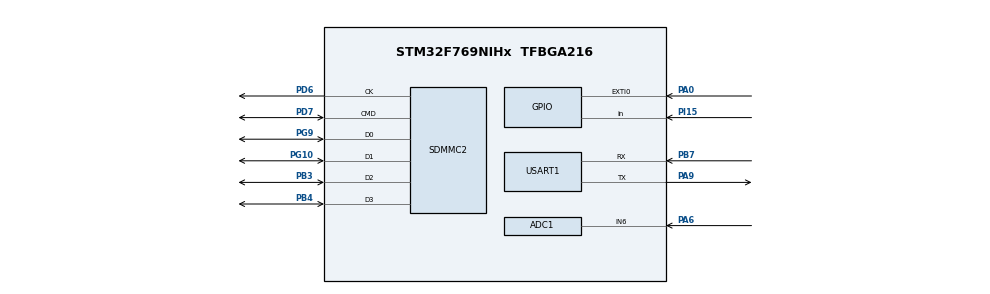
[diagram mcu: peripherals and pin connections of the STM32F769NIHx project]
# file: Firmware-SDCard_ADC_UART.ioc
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Mcu.Family=STM32F7
PD7.Mode=SD_4_bits_Wide_bus
Dma.SDMMC2_TX.2.Direction=DMA_MEMORY_TO_PERIPH
Dma.SDMMC2_RX.1.MemDataAlignment=DMA_MDATAALIGN_WORD
FATFS0.BSP.api=Unknown
ADC1.ContinuousConvMode=ENABLE
VP_FATFS_VS_SDIO.Mode=SDIO
Dma.SDMMC2_TX.2.FIFOMode=DMA_FIFOMODE_ENABLE
Dma.SDMMC2_TX.2.Priority=DMA_PRIORITY_LOW
PA0/WKUP.Signal=GPXTI0
Dma.SDMMC2_TX.2.PeriphDataAlignment=DMA_PDATAALIGN_WORD
ProjectManager.StackSize=0x800
Dma.SDMMC2_TX.2.PeriphBurst=DMA_PBURST_INC4
PH0/OSC_IN.Mode=HSE-External-Oscillator
RCC.APB2TimFreq_Value=16000000
Dma.ADC1.0.Direction=DMA_PERIPH_TO_MEMORY
PH1/OSC_OUT.Signal=RCC_OSC_OUT
NVIC.DMA2_Stream0_IRQn=true\:1\:0\:true\:false\:true\:false\:true
Dma.ADC1.0.MemDataAlignment=DMA_MDATAALIGN_HALFWORD
FATFS0.BSP.ip=GPIO
ADC1.Channel-0\#ChannelRegularConversion=ADC_CHANNEL_6
RCC.HSE_VALUE=25000000
PB3.Mode=SD_4_bits_Wide_bus
FATFS0.BSP.i2caddr=0
Dma.SDMMC2_RX.1.PeriphBurst=DMA_PBURST_INC4
Dma.SDMMC2_TX.2.MemBurst=DMA_MBURST_INC4
PB4.Mode=SD_4_bits_Wide_bus
PA14.Mode=Serial_Wire
Dma.ADC1.0.PeriphInc=DMA_PINC_DISABLE
Dma.SDMMC2_TX.2.PeriphInc=DMA_PINC_DISABLE
PB7.Signal=USART1_RX
Dma.SDMMC2_TX.2.MemInc=DMA_MINC_ENABLE
PH1/OSC_OUT.Mode=HSE-External-Oscillator
ADC1.SamplingTime-0\#ChannelRegularConversion=ADC_SAMPLETIME_480CYCLES
Mcu.Package=TFBGA216
PA6.Signal=ADCx_IN6
Dma.SDMMC2_TX.2.Instance=DMA2_Stream0
FATFS0.BSP.solution=PI15
RCC.APB2CLKDivider=RCC_HCLK_DIV2
Dma.Request2=SDMMC2_TX
Dma.Request1=SDMMC2_RX
Dma.ADC1.0.FIFOMode=DMA_FIFOMODE_DISABLE
PD6.Signal=SDMMC2_CK
Dma.Request0=ADC1
Dma.SDMMC2_RX.1.Mode=DMA_PFCTRL
PB4.Signal=SDMMC2_D3
FATFS0.BSP.STBoard=false
Dma.ADC1.0.Instance=DMA2_Stream4
ADC1.Rank-0\#ChannelRegularConversion=1
SH.ADCx_IN6.0=ADC1_IN6,IN6
PG9.Signal=SDMMC2_D0
Dma.SDMMC2_RX.1.MemInc=DMA_MINC_ENABLE
FATFS0.BSP.mode=Input
PG9.Mode=SD_4_bits_Wide_bus
PG10.Mode=SD_4_bits_Wide_bus
PD7.Signal=SDMMC2_CMD
Dma.SDMMC2_RX.1.FIFOMode=DMA_FIFOMODE_ENABLE
PD6.Mode=SD_4_bits_Wide_bus
Dma.SDMMC2_RX.1.Priority=DMA_PRIORITY_LOW
PG10.Signal=SDMMC2_D1
FATFS0.BSP.instance=PI15
USART1.VirtualMode-Asynchronous=VM_ASYNC
PA13.Signal=SYS_JTMS-SWDIO
Dma.ADC1.0.PeriphDataAlignment=DMA_PDATAALIGN_HALFWORD
PA9.Mode=Asynchronous
Dma.SDMMC2_RX.1.PeriphDataAlignment=DMA_PDATAALIGN_WORD
ProjectManager.TargetToolchain=STM32CubeIDE
Dma.ADC1.0.Mode=DMA_CIRCULAR
Dma.SDMMC2_TX.2.FIFOThreshold=DMA_FIFO_THRESHOLD_FULL
Dma.ADC1.0.Priority=DMA_PRIORITY_LOW
PA9.Signal=USART1_TX
RCC.USBFreq_Value=96000000
Dma.SDMMC2_RX.1.Direction=DMA_PERIPH_TO_MEMORY
RCC.LSE_VALUE=32768
FATFS.BSP.number=1
Dma.SDMMC2_RX.1.PeriphInc=DMA_PINC_DISABLE
board=custom
RCC.VCOOutputFreq_Value=192000000
FATFS.USE_DMA_CODE_SD=1
PH0/OSC_IN.Signal=RCC_OSC_IN
RCC.APB2Freq_Value=8000000
NVIC.DMA2_Stream5_IRQn=true\:1\:0\:true\:false\:true\:false\:true
ADC1.DMAContinuousRequests=ENABLE
PA0/WKUP.GPIO_PuPd=GPIO_PULLDOWN
PA13.Mode=Serial_Wire
Mcu.Name=STM32F769NIHx
NVIC.DMA2_Stream4_IRQn=true\:4\:0\:true\:false\:true\:false\:true
Dma.SDMMC2_RX.1.Instance=DMA2_Stream5
PB3.Signal=SDMMC2_D2
NVIC.EXTI0_IRQn=true\:2\:0\:true\:false\:true\:true\:true
NVIC.SDMMC2_IRQn=true\:1\:0\:true\:false\:true\:true\:true
ADC1.master=1
PB7.Mode=Asynchronous
PA14.Signal=SYS_JTCK-SWCLK
Dma.ADC1.0.MemInc=DMA_MINC_ENABLE
ProjectManager.HeapSize=0x400
RCC.HSI_VALUE=16000000
Dma.SDMMC2_RX.1.MemBurst=DMA_MBURST_INC4
NVIC.PriorityGroup=NVIC_PRIORITYGROUP_4
ADC1.NbrOfConversionFlag=1
Dma.SDMMC2_RX.1.FIFOThreshold=DMA_FIFO_THRESHOLD_FULL
PI15.Signal=GPIO_Input
Dma.SDMMC2_TX.2.Mode=DMA_PFCTRL
ADC1.ClockPrescaler=ADC_CLOCK_SYNC_PCLK_DIV8
FATFS0.BSP.name=Detect_SDIO
Dma.SDMMC2_TX.2.MemDataAlignment=DMA_MDATAALIGN_WORD

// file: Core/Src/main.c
/* USER CODE BEGIN Header */
/**
  ******************************************************************************
  * @file           : main.c
  * @brief          : Main program body
  ******************************************************************************
  * @attention
  *
  * <h2><center>&copy; Copyright (c) 2021 STMicroelectronics.
  * All rights reserved.</center></h2>
  *
  * This software component is licensed by ST under BSD 3-Clause license,
  * the "License"; You may not use this file except in compliance with the
  * License. You may obtain a copy of the License at:
  *                        opensource.org/licenses/BSD-3-Clause
  *
  ******************************************************************************
  */
/* USER CODE END Header */
#include "main.h"
#include "fatfs.h"

/* USER CODE BEGIN Includes */
#include <string.h>
#include <stdio.h>
#include <stdbool.h>
/* USER CODE END Includes */

/* USER CODE BEGIN PD */
#define ADC_BUF_LEN 512
/* USER CODE END PD */

ADC_HandleTypeDef hadc1;
DMA_HandleTypeDef hdma_adc1;

SD_HandleTypeDef hsd2;
DMA_HandleTypeDef hdma_sdmmc2_rx;
DMA_HandleTypeDef hdma_sdmmc2_tx;

UART_HandleTypeDef huart1;

/* USER CODE BEGIN PV */
uint16_t adc_buf[ADC_BUF_LEN];
char msg[10];
char arquivo[22];
bool controll_gravacao = false;
short int num_arquivo = 1;
/* USER CODE END PV */

void SystemClock_Config(void);
static void MX_GPIO_Init(void);
static void MX_DMA_Init(void);
static void MX_USART1_UART_Init(void);
static void MX_ADC1_Init(void);
static void MX_SDMMC2_SD_Init(void);

/* USER CODE BEGIN 0 */
FIL SDFile;
FRESULT res; /* código de resultado comum da função FatFs*/
uint32_t byteswritten, bytesread; /* contagem de leitura/gravação de arquivo*/
char wtext[10]; /* Buffer de gravação de arquivo*/
char rtext[1024];

//envia uma string para o monitor serial
void send_uart(char *string){

	uint8_t len = strlen (string);
	HAL_UART_Transmit(&huart1, (uint8_t *)string, len, 2000); //transmite em modo de bloqueio

}

//conta quantos caracteres tem a string
int bufsize (char *buf){

	int i = 0;
	while (*buf++ != '\0') i++;
	return i;
}

//limpa o buffer
void bufclear(char *buf){

	uint8_t len = strlen (buf);
	for(int i=0; i<len; i++)
	{
		buf = '\0';
	}
}

//cria um titulo para o arquivo do cartao SD
 void criar_arquivo(char *titulo ){

	sprintf(titulo, "DADOS%i.TXT", num_arquivo);
	num_arquivo++;
}

/* USER CODE END 0 */

int main(void)
{

  /* MCU Configuration--------------------------------------------------------*/

  /* Reset of all peripherals, Initializes the Flash interface and the Systick. */
  HAL_Init();

  /* Configure the system clock */
  SystemClock_Config();

  /* Initialize all configured peripherals */
  MX_GPIO_Init();
  MX_DMA_Init();
  MX_USART1_UART_Init();
  MX_ADC1_Init();
  MX_SDMMC2_SD_Init();
  MX_FATFS_Init();
  /* USER CODE BEGIN 2 */
  //inicia as requisições de dados do conversor AD
  HAL_ADC_Start_DMA(&hadc1,(uint32_t*)adc_buf, ADC_BUF_LEN);

  /* USER CODE END 2 */

  /* Infinite loop */
  while (1)
  {

  }
}

void SystemClock_Config(void)
{
  RCC_OscInitTypeDef RCC_OscInitStruct = {0};
  RCC_ClkInitTypeDef RCC_ClkInitStruct = {0};
  RCC_PeriphCLKInitTypeDef PeriphClkInitStruct = {0};

  /** Configure the main internal regulator output voltage
  */
  __HAL_RCC_PWR_CLK_ENABLE();
  __HAL_PWR_VOLTAGESCALING_CONFIG(PWR_REGULATOR_VOLTAGE_SCALE3);
  /** Initializes the RCC Oscillators according to the specified parameters
  * in the RCC_OscInitTypeDef structure.
  */
  RCC_OscInitStruct.OscillatorType = RCC_OSCILLATORTYPE_HSI;
  RCC_OscInitStruct.HSIState = RCC_HSI_ON;
  RCC_OscInitStruct.HSICalibrationValue = RCC_HSICALIBRATION_DEFAULT;
  RCC_OscInitStruct.PLL.PLLState = RCC_PLL_NONE;
  if (HAL_RCC_OscConfig(&RCC_OscInitStruct) != HAL_OK)
  {
    Error_Handler();
  }
  /** Initializes the CPU, AHB and APB buses clocks
  */
  RCC_ClkInitStruct.ClockType = RCC_CLOCKTYPE_HCLK|RCC_CLOCKTYPE_SYSCLK
                              |RCC_CLOCKTYPE_PCLK1|RCC_CLOCKTYPE_PCLK2;
  RCC_ClkInitStruct.SYSCLKSource = RCC_SYSCLKSOURCE_HSI;
  RCC_ClkInitStruct.AHBCLKDivider = RCC_SYSCLK_DIV1;
  RCC_ClkInitStruct.APB1CLKDivider = RCC_HCLK_DIV1;
  RCC_ClkInitStruct.APB2CLKDivider = RCC_HCLK_DIV2;

  if (HAL_RCC_ClockConfig(&RCC_ClkInitStruct, FLASH_LATENCY_0) != HAL_OK)
  {
    Error_Handler();
  }
  PeriphClkInitStruct.PeriphClockSelection = RCC_PERIPHCLK_USART1|RCC_PERIPHCLK_SDMMC2;
  PeriphClkInitStruct.Usart1ClockSelection = RCC_USART1CLKSOURCE_PCLK2;
  PeriphClkInitStruct.Sdmmc2ClockSelection = RCC_SDMMC2CLKSOURCE_SYSCLK;
  if (HAL_RCCEx_PeriphCLKConfig(&PeriphClkInitStruct) != HAL_OK)
  {
    Error_Handler();
  }
}

static void MX_ADC1_Init(void)
{

  ADC_ChannelConfTypeDef sConfig = {0};

  /** Configure the global features of the ADC (Clock, Resolution, Data Alignment and number of conversion)
  */
  hadc1.Instance = ADC1;
  hadc1.Init.ClockPrescaler = ADC_CLOCK_SYNC_PCLK_DIV8;
  hadc1.Init.Resolution = ADC_RESOLUTION_12B;
  hadc1.Init.ScanConvMode = ADC_SCAN_DISABLE;
  hadc1.Init.ContinuousConvMode = ENABLE;
  hadc1.Init.DiscontinuousConvMode = DISABLE;
  hadc1.Init.ExternalTrigConvEdge = ADC_EXTERNALTRIGCONVEDGE_NONE;
  hadc1.Init.ExternalTrigConv = ADC_SOFTWARE_START;
  hadc1.Init.DataAlign = ADC_DATAALIGN_RIGHT;
  hadc1.Init.NbrOfConversion = 1;
  hadc1.Init.DMAContinuousRequests = ENABLE;
  hadc1.Init.EOCSelection = ADC_EOC_SINGLE_CONV;
  if (HAL_ADC_Init(&hadc1) != HAL_OK)
  {
    Error_Handler();
  }
  /** Configure for the selected ADC regular channel its corresponding rank in the sequencer and its sample time.
  */
  sConfig.Channel = ADC_CHANNEL_6;
  sConfig.Rank = ADC_REGULAR_RANK_1;
  sConfig.SamplingTime = ADC_SAMPLETIME_480CYCLES;
  if (HAL_ADC_ConfigChannel(&hadc1, &sConfig) != HAL_OK)
  {
    Error_Handler();
  }

}

static void MX_SDMMC2_SD_Init(void)
{

  hsd2.Instance = SDMMC2;
  hsd2.Init.ClockEdge = SDMMC_CLOCK_EDGE_RISING;
  hsd2.Init.ClockBypass = SDMMC_CLOCK_BYPASS_DISABLE;
  hsd2.Init.ClockPowerSave = SDMMC_CLOCK_POWER_SAVE_DISABLE;
  hsd2.Init.BusWide = SDMMC_BUS_WIDE_1B;
  hsd2.Init.HardwareFlowControl = SDMMC_HARDWARE_FLOW_CONTROL_DISABLE;
  hsd2.Init.ClockDiv = 0;

}

static void MX_USART1_UART_Init(void)
{

  huart1.Instance = USART1;
  huart1.Init.BaudRate = 115200;
  huart1.Init.WordLength = UART_WORDLENGTH_8B;
  huart1.Init.StopBits = UART_STOPBITS_1;
  huart1.Init.Parity = UART_PARITY_NONE;
  huart1.Init.Mode = UART_MODE_TX_RX;
  huart1.Init.HwFlowCtl = UART_HWCONTROL_NONE;
  huart1.Init.OverSampling = UART_OVERSAMPLING_16;
  huart1.Init.OneBitSampling = UART_ONE_BIT_SAMPLE_DISABLE;
  huart1.AdvancedInit.AdvFeatureInit = UART_ADVFEATURE_NO_INIT;
  if (HAL_UART_Init(&huart1) != HAL_OK)
  {
    Error_Handler();
  }

}

static void MX_DMA_Init(void)
{

  /* DMA controller clock enable */
  __HAL_RCC_DMA2_CLK_ENABLE();

  /* DMA interrupt init */
  /* DMA2_Stream0_IRQn interrupt configuration */
  HAL_NVIC_SetPriority(DMA2_Stream0_IRQn, 1, 0);
  HAL_NVIC_EnableIRQ(DMA2_Stream0_IRQn);
  /* DMA2_Stream4_IRQn interrupt configuration */
  HAL_NVIC_SetPriority(DMA2_Stream4_IRQn, 4, 0);
  HAL_NVIC_EnableIRQ(DMA2_Stream4_IRQn);
  /* DMA2_Stream5_IRQn interrupt configuration */
  HAL_NVIC_SetPriority(DMA2_Stream5_IRQn, 1, 0);
  HAL_NVIC_EnableIRQ(DMA2_Stream5_IRQn);

}

static void MX_GPIO_Init(void)
{
  GPIO_InitTypeDef GPIO_InitStruct = {0};

  /* GPIO Ports Clock Enable */
  __HAL_RCC_GPIOB_CLK_ENABLE();
  __HAL_RCC_GPIOD_CLK_ENABLE();
  __HAL_RCC_GPIOA_CLK_ENABLE();
  __HAL_RCC_GPIOG_CLK_ENABLE();
  __HAL_RCC_GPIOH_CLK_ENABLE();
  __HAL_RCC_GPIOI_CLK_ENABLE();

  /*Configure GPIO pin : PI15 */
  GPIO_InitStruct.Pin = GPIO_PIN_15;
  GPIO_InitStruct.Mode = GPIO_MODE_INPUT;
  GPIO_InitStruct.Pull = GPIO_NOPULL;
  HAL_GPIO_Init(GPIOI, &GPIO_InitStruct);

  /*Configure GPIO pin : PA0 */
  GPIO_InitStruct.Pin = GPIO_PIN_0;
  GPIO_InitStruct.Mode = GPIO_MODE_IT_RISING;
  GPIO_InitStruct.Pull = GPIO_PULLDOWN;
  HAL_GPIO_Init(GPIOA, &GPIO_InitStruct);

  /* EXTI interrupt init*/
  HAL_NVIC_SetPriority(EXTI0_IRQn, 2, 0);
  HAL_NVIC_EnableIRQ(EXTI0_IRQn);

}

/* USER CODE BEGIN 4 */
// Função de tratamento das interrupções externas
void HAL_GPIO_EXTI_Callback(uint16_t GPIO_Pin){

	//muda o nivel logico da variavel de controle
	controll_gravacao = !controll_gravacao;

    if((GPIO_Pin == GPIO_PIN_0) & (controll_gravacao)) // se a interrupção externa veio do PIN 0 e o
    	                                               //controll_gravacao é verdadeiro:
    {
    	//manda a seguinte mensagem para o monitor serial
    	send_uart("Preparando o SD para gravação...\r\n");

    	//executa a função que registra um objeto do sitema de arquivos (limpa a área de trabalho)
    	res = f_mount(&SDFatFS, (TCHAR const*)SDPath, 0);

    	//envia para o monitor serial as seguintes mensagens
    	send_uart("Montagem do SD com sucesso...\r\n");
    	send_uart("Criando o arquivo...\r\n");

    	//cria o nome do arquivo no qual será salvo os dados
    	criar_arquivo(arquivo);

    	//envia para o monitor serial o nome do arquivo
    	send_uart(arquivo);

    	/*Abre/cria um arquivo, FA_CREATE_ALWAYS (cria o arquivo, caso já exista é substituido)
    	             * | FA_WRITE (arquivo aberto no modo de gravação) */
    	res = f_open(&SDFile, arquivo, FA_CREATE_ALWAYS | FA_WRITE);

    	//manda a seguinte mensagem para o monitor serial
    	send_uart("\r\nArquivo de texto criado com sucesso...\r\n");

    	/*grava a a seguinte mensagem dentro do arquivo aberto, byteswritten recebe o número de bytes gravados, res recebe
    			                  * "FR_OK" caso tudo tenha ocorrido bem*/
    	res = f_write(&SDFile, "Inicio dos dados de tensão (V)\r\n", strlen("Inicio dos dados de tensão (V)\r\n"), (void *)&byteswritten);

    	//manda a seguinte mensagem para o monitor serial
    	send_uart("Começando a gravação!!!\r\n");

    }else{

    	//manda a seguinte mensagem para o monitor serial
    	send_uart("Fim da gravação!!!\r\n");

    	/*Fecha o objeto de arquivo aberto*/
    	f_close(&SDFile);
    }
}

//interrupção, chamada quando o buffer adc_buf estiver na metade
void HAL_ADC_ConvHalfCpltCallback(ADC_HandleTypeDef* hadc) {

	//formata os dados e salva em msg
	sprintf(msg, "%.2f\r\n", (adc_buf[(ADC_BUF_LEN/2)-1])*3.3/4095);

	//envia a o dado formatado para o monitor serial
	send_uart(msg);

	//limpa o buffer msg
	bufclear(msg);

	if(controll_gravacao){ //executado quando apertado o botão

			//prepara o dado para gravação
			sprintf(wtext, "%.2f\r\n", (adc_buf[(ADC_BUF_LEN/2)-1])*3.3/4095);

			/*grava os dados de "wtext" em um arquivo aberto, byteswritten recebe o número de bytes gravados, res recebe
			                  * "FR_OK" caso tudo tenha ocorrido bem*/
			res = f_write(&SDFile, wtext, bufsize(wtext), (void *)&byteswritten);

			//limpa o buffer wtext
			bufclear(wtext);

		}
}

//interrupção, chamada quando o buffer adc_buf estiver completo
void HAL_ADC_ConvCpltCallback(ADC_HandleTypeDef* hadc) {

	//formata os dados e salva em msg
	sprintf(msg, "%.2f\r\n", (adc_buf[ADC_BUF_LEN-1])*3.3/4095);

	//envia a o dado formatado para o monitor serial
	send_uart(msg);

	//limpa o buffer msg
	bufclear(msg);

	if(controll_gravacao){	//executado quando apertado o botão

		//prepara o dado para gravação
		sprintf(wtext, "%.2f\r\n", (adc_buf[ADC_BUF_LEN-1])*3.3/4095);

		/*grava os dados de "wtext" em um arquivo aberto, byteswritten recebe o número de bytes gravados, res recebe
		                  * "FR_OK" caso tudo tenha ocorrido bem*/
		res = f_write(&SDFile, wtext, bufsize(wtext), (void *)&byteswritten);

		//limpa o buffer wtext
		bufclear(wtext);

	}

}
/* USER CODE END 4 */

void Error_Handler(void)
{
  __disable_irq();
  while (1)
  {
  }
}

/************************ (C) COPYRIGHT STMicroelectronics *****END OF FILE****/
